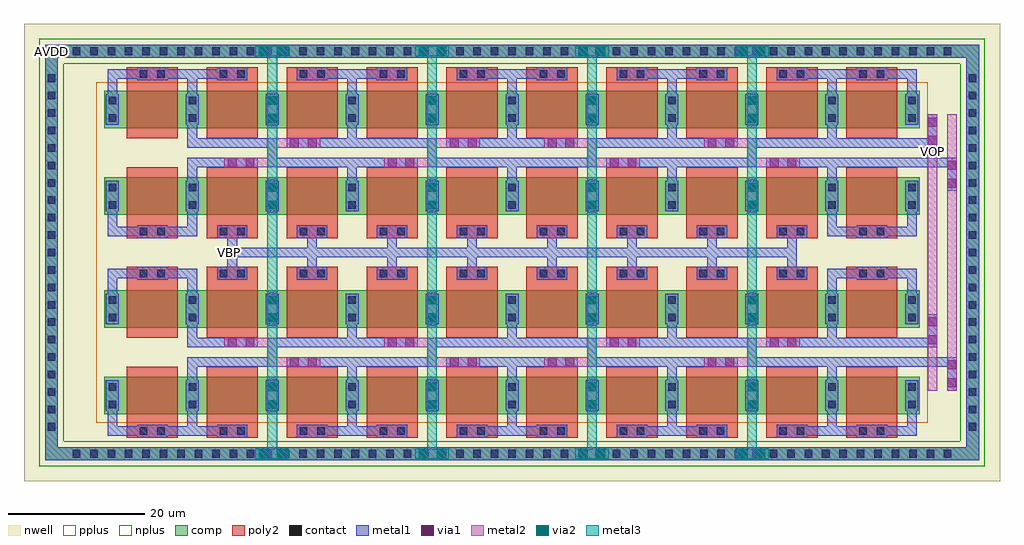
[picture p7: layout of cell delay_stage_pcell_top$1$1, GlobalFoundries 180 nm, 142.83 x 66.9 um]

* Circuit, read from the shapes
.subckt delay_stage_pcell_top$1$1 AVDD VBP VON VOP
XM1 VON VON VON AVDD pfet_03v3 w=5.5u l=7.5u m=4
XM2 VOP VOP VOP AVDD pfet_03v3 w=5.5u l=7.5u m=4
XM3 AVDD VON VON AVDD pfet_03v3 w=5.5u l=7.5u m=8
XM4 AVDD VBP VOP AVDD pfet_03v3 w=5.5u l=7.5u m=8
XM5 AVDD VBP VON AVDD pfet_03v3 w=5.5u l=7.5u m=8
XM6 AVDD VOP VOP AVDD pfet_03v3 w=5.5u l=7.5u m=8
.ends

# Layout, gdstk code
from math import pi, radians
import gdstk
lib = gdstk.Library(unit=1e-6, precision=1e-09)
def R(c, l, rs):  # rectangles x0, y0, x1, y1
    for r in rs: c.add(gdstk.rectangle(r[:2], r[2:], *l))
def A(c, l, x, y, w, h, nx, ny, dx, dy):  # array of equal rectangles
    R(c, l, [(x+i*dx, y+j*dy, x+i*dx+w, y+j*dy+h) for i in range(nx) for j in range(ny)])
nwell = (21, 0)
comp = (22, 0)
poly2 = (30, 0)
pplus = (31, 0)
nplus = (32, 0)
contact = (33, 0)
metal1 = (34, 0)
via1 = (35, 0)
metal2 = (36, 0)
via2 = (38, 0)
metal3 = (42, 0)

delay_stage_pcell_1_1_1_ = lib.new_cell('delay_stage_pcell_1$1$1$1$1')
R(delay_stage_pcell_1_1_1_, comp, [(0.85,1.5,3.15,7), (3.15,1.5,12.55,7), (12.55,1.5,14.85,7)])
R(delay_stage_pcell_1_1_1_, poly2, [(4.1,0,11.6,8.5)])
R(delay_stage_pcell_1_1_1_, contact, [(1.45,2.425,2.55,3.525), (13.15,2.425,14.25,3.525), (1.45,4.975,2.55,6.075), (13.15,4.975,14.25,6.075)])
R(delay_stage_pcell_1_1_1_, metal1, [(1.05,2.025,2.95,6.475), (12.75,2.025,14.65,6.475)])

delay_stage_pcell_1_4_1_ = lib.new_cell('delay_stage_pcell_1_4$1$1$1')
R(delay_stage_pcell_1_4_1_, poly2, [(3.25,0,10.75,1.9), (3.25,23.1,10.75,25), (3.25,29.2,10.75,31.1), (3.25,52.3,10.75,54.2)])
R(delay_stage_pcell_1_4_1_, contact, [(5.175,0.4,6.275,1.5), (7.725,0.4,8.825,1.5), (5.175,23.5,6.275,24.6), (7.725,23.5,8.825,24.6), (5.175,29.6,6.275,30.7), (7.725,29.6,8.825,30.7), (5.175,52.7,6.275,53.8), (7.725,52.7,8.825,53.8)])
R(delay_stage_pcell_1_4_1_, metal1, [(4.775,0,9.225,1.9), (4.775,23.1,9.225,25), (4.775,29.2,9.225,31.1), (4.775,52.3,9.225,54.2)])
delay_stage_pcell_1_4_1_.add(gdstk.FlexPath([(12.85,50.275),(12.85,53.25),(1.15,53.25),(1.15,50.275)], 1.4, ends="flush", simple_path=True, layer=34, datatype=0))  # metal1
delay_stage_pcell_1_4_1_.add(gdstk.FlexPath([(12.85,3.925),(12.85,0.95),(1.15,0.95),(1.15,3.925)], 1.4, ends="flush", simple_path=True, layer=34, datatype=0))  # metal1
delay_stage_pcell_1_4_1_.add(gdstk.FlexPath([(12.85,33.125),(12.85,30.15),(1.15,30.15),(1.15,33.125)], 1.4, ends="flush", simple_path=True, layer=34, datatype=0))  # metal1
delay_stage_pcell_1_4_1_.add(gdstk.FlexPath([(12.85,21.075),(12.85,24.05),(1.15,24.05),(1.15,21.075)], 1.4, ends="flush", simple_path=True, layer=34, datatype=0))  # metal1
delay_stage_pcell_1_4_1_.add(gdstk.Reference(delay_stage_pcell_1_1_1_, (-0.85,31.1)))
delay_stage_pcell_1_4_1_.add(gdstk.Reference(delay_stage_pcell_1_1_1_, (-0.85,1.9)))
delay_stage_pcell_1_4_1_.add(gdstk.Reference(delay_stage_pcell_1_1_1_, (-0.85,14.6)))
delay_stage_pcell_1_4_1_.add(gdstk.Reference(delay_stage_pcell_1_1_1_, (-0.85,43.8)))

delay_stage_pcell_1_2_1_ = lib.new_cell('delay_stage_pcell_1$2$1$1$1$1')
R(delay_stage_pcell_1_2_1_, comp, [(0.85,1.5,3.15,7), (3.15,1.5,12.55,7), (12.55,1.5,14.85,7)])
R(delay_stage_pcell_1_2_1_, poly2, [(4.1,0,11.6,8.5)])
R(delay_stage_pcell_1_2_1_, contact, [(1.45,2.425,2.55,3.525), (13.15,2.425,14.25,3.525), (1.45,4.975,2.55,6.075), (13.15,4.975,14.25,6.075)])
R(delay_stage_pcell_1_2_1_, metal1, [(1.05,2.025,2.95,6.475), (12.75,2.025,14.65,6.475)])

delay_stage_pcell_4_2_1_ = lib.new_cell('delay_stage_pcell_4$2$1$1$1')
delay_stage_pcell_4_2_1_.add(gdstk.Reference(delay_stage_pcell_1_2_1_, (-0.85,0)))
delay_stage_pcell_4_2_1_.add(gdstk.Reference(delay_stage_pcell_1_2_1_, (10.85,0)))
delay_stage_pcell_4_2_1_.add(gdstk.Reference(delay_stage_pcell_1_2_1_, (22.55,0)))
delay_stage_pcell_4_2_1_.add(gdstk.Reference(delay_stage_pcell_1_2_1_, (34.25,0)))

delay_stage_pcell_4_4_1_ = lib.new_cell('delay_stage_pcell_4_4$1$1$1')
R(delay_stage_pcell_4_4_1_, poly2, [(3.25,0,10.75,1.9), (3.25,0,10.75,1.9), (14.95,0,22.45,1.9), (14.95,0,22.45,1.9), (26.65,0,34.15,1.9), (26.65,0,34.15,1.9), (38.35,0,45.85,1.9), (38.35,0,45.85,1.9), (3.25,23.1,10.75,25), (3.25,23.1,10.75,25), (14.95,23.1,22.45,25), (14.95,23.1,22.45,25), (26.65,23.1,34.15,25), (26.65,23.1,34.15,25), (38.35,23.1,45.85,25), (38.35,23.1,45.85,25), (3.25,29.2,10.75,31.1), (3.25,29.2,10.75,31.1), (14.95,29.2,22.45,31.1), (14.95,29.2,22.45,31.1), (26.65,29.2,34.15,31.1), (26.65,29.2,34.15,31.1), (38.35,29.2,45.85,31.1), (38.35,29.2,45.85,31.1), (3.25,52.3,10.75,54.2), (3.25,52.3,10.75,54.2), (14.95,52.3,22.45,54.2), (14.95,52.3,22.45,54.2), (26.65,52.3,34.15,54.2), (26.65,52.3,34.15,54.2), (38.35,52.3,45.85,54.2), (38.35,52.3,45.85,54.2)])
R(delay_stage_pcell_4_4_1_, contact, [(5.175,0.4,6.275,1.5), (5.175,0.4,6.275,1.5), (7.725,0.4,8.825,1.5), (7.725,0.4,8.825,1.5), (16.875,0.4,17.975,1.5), (16.875,0.4,17.975,1.5), (19.425,0.4,20.525,1.5), (19.425,0.4,20.525,1.5), (28.575,0.4,29.675,1.5), (28.575,0.4,29.675,1.5), (31.125,0.4,32.225,1.5), (31.125,0.4,32.225,1.5), (40.275,0.4,41.375,1.5), (40.275,0.4,41.375,1.5), (42.825,0.4,43.925,1.5), (42.825,0.4,43.925,1.5), (5.175,23.5,6.275,24.6), (5.175,23.5,6.275,24.6), (7.725,23.5,8.825,24.6), (7.725,23.5,8.825,24.6), (16.875,23.5,17.975,24.6), (16.875,23.5,17.975,24.6), (19.425,23.5,20.525,24.6), (19.425,23.5,20.525,24.6), (28.575,23.5,29.675,24.6), (28.575,23.5,29.675,24.6), (31.125,23.5,32.225,24.6), (31.125,23.5,32.225,24.6), (40.275,23.5,41.375,24.6), (40.275,23.5,41.375,24.6), (42.825,23.5,43.925,24.6), (42.825,23.5,43.925,24.6), (5.175,29.6,6.275,30.7), (5.175,29.6,6.275,30.7), (7.725,29.6,8.825,30.7), (7.725,29.6,8.825,30.7), (16.875,29.6,17.975,30.7), (16.875,29.6,17.975,30.7), (19.425,29.6,20.525,30.7), (19.425,29.6,20.525,30.7), (28.575,29.6,29.675,30.7), (28.575,29.6,29.675,30.7), (31.125,29.6,32.225,30.7), (31.125,29.6,32.225,30.7), (40.275,29.6,41.375,30.7), (40.275,29.6,41.375,30.7), (42.825,29.6,43.925,30.7), (42.825,29.6,43.925,30.7), (5.175,52.7,6.275,53.8), (5.175,52.7,6.275,53.8), (7.725,52.7,8.825,53.8), (7.725,52.7,8.825,53.8), (16.875,52.7,17.975,53.8), (16.875,52.7,17.975,53.8), (19.425,52.7,20.525,53.8), (19.425,52.7,20.525,53.8), (28.575,52.7,29.675,53.8), (28.575,52.7,29.675,53.8), (31.125,52.7,32.225,53.8), (31.125,52.7,32.225,53.8), (40.275,52.7,41.375,53.8), (40.275,52.7,41.375,53.8), (42.825,52.7,43.925,53.8), (42.825,52.7,43.925,53.8)])
R(delay_stage_pcell_4_4_1_, metal1, [(4.775,0,9.225,1.9), (16.475,0,20.925,1.9), (16.475,0,20.925,1.9), (28.175,0,32.625,1.9), (28.175,0,32.625,1.9), (39.875,0,44.325,1.9), (4.775,23.1,9.225,25), (4.775,23.1,9.225,25), (16.475,23.1,20.925,25), (16.475,23.1,20.925,25), (28.175,23.1,32.625,25), (28.175,23.1,32.625,25), (39.875,23.1,44.325,25), (4.775,29.2,9.225,31.1), (4.775,29.2,9.225,31.1), (16.475,29.2,20.925,31.1), (16.475,29.2,20.925,31.1), (28.175,29.2,32.625,31.1), (28.175,29.2,32.625,31.1), (39.875,29.2,44.325,31.1), (39.875,29.2,44.325,31.1), (4.775,52.3,9.225,54.2), (16.475,52.3,20.925,54.2), (16.475,52.3,20.925,54.2), (28.175,52.3,32.625,54.2), (28.175,52.3,32.625,54.2), (39.875,52.3,44.325,54.2)])
R(delay_stage_pcell_4_4_1_, via1, [(12.2,4.2,13.5,5.5), (35.6,4.2,36.9,5.5), (12.2,6.8,13.5,8.1), (35.6,6.8,36.9,8.1), (6.35,10.45,7.65,11.75), (6.35,10.45,7.65,11.75), (8.95,10.45,10.25,11.75), (8.95,10.45,10.25,11.75), (29.75,10.45,31.05,11.75), (29.75,10.45,31.05,11.75), (32.35,10.45,33.65,11.75), (32.35,10.45,33.65,11.75), (15.45,13.25,16.75,14.55), (15.45,13.25,16.75,14.55), (18.05,13.25,19.35,14.55), (18.05,13.25,19.35,14.55), (38.85,13.25,40.15,14.55), (38.85,13.25,40.15,14.55), (41.45,13.25,42.75,14.55), (41.45,13.25,42.75,14.55), (12.2,16.9,13.5,18.2), (35.6,16.9,36.9,18.2), (12.2,19.5,13.5,20.8), (35.6,19.5,36.9,20.8), (12.2,33.4,13.5,34.7), (35.6,33.4,36.9,34.7), (12.2,36,13.5,37.3), (35.6,36,36.9,37.3), (15.45,39.65,16.75,40.95), (15.45,39.65,16.75,40.95), (18.05,39.65,19.35,40.95), (18.05,39.65,19.35,40.95), (38.85,39.65,40.15,40.95), (38.85,39.65,40.15,40.95), (41.45,39.65,42.75,40.95), (41.45,39.65,42.75,40.95), (6.35,42.45,7.65,43.75), (6.35,42.45,7.65,43.75), (8.95,42.45,10.25,43.75), (8.95,42.45,10.25,43.75), (29.75,42.45,31.05,43.75), (29.75,42.45,31.05,43.75), (32.35,42.45,33.65,43.75), (32.35,42.45,33.65,43.75), (12.2,46.1,13.5,47.4), (35.6,46.1,36.9,47.4), (12.2,48.7,13.5,50), (35.6,48.7,36.9,50)])
R(delay_stage_pcell_4_4_1_, via2, [(12.2,4.2,13.5,5.5), (35.6,4.2,36.9,5.5), (12.2,6.8,13.5,8.1), (35.6,6.8,36.9,8.1), (12.2,16.9,13.5,18.2), (35.6,16.9,36.9,18.2), (12.2,19.5,13.5,20.8), (35.6,19.5,36.9,20.8), (12.2,33.4,13.5,34.7), (35.6,33.4,36.9,34.7), (12.2,36,13.5,37.3), (35.6,36,36.9,37.3), (12.2,46.1,13.5,47.4), (35.6,46.1,36.9,47.4), (12.2,48.7,13.5,50), (35.6,48.7,36.9,50)])
delay_stage_pcell_4_4_1_.add(gdstk.FlexPath([(42.8,27.1),(1.15,27.1)], 1.4, ends="flush", simple_path=True, layer=34, datatype=0))  # metal1
delay_stage_pcell_4_4_1_.add(gdstk.FlexPath([(20.925,53.25),(28.175,53.25)], 1.4, ends="flush", simple_path=True, layer=34, datatype=0))  # metal1
delay_stage_pcell_4_4_1_.add(gdstk.FlexPath([(24.55,50.275),(24.55,52.55)], 1.4, ends="flush", simple_path=True, layer=34, datatype=0))  # metal1
delay_stage_pcell_4_4_1_.add(gdstk.FlexPath([(4.775,53.25),(1.15,53.25),(1.15,50.275)], 1.4, ends="flush", simple_path=True, layer=34, datatype=0))  # metal1
delay_stage_pcell_4_4_1_.add(gdstk.FlexPath([(44.325,53.25),(47.95,53.25),(47.95,50.275)], 1.4, ends="flush", simple_path=True, layer=34, datatype=0))  # metal1
delay_stage_pcell_4_4_1_.add(gdstk.FlexPath([(20.925,0.95),(28.175,0.95)], 1.4, ends="flush", simple_path=True, layer=34, datatype=0))  # metal1
delay_stage_pcell_4_4_1_.add(gdstk.FlexPath([(24.55,3.925),(24.55,1.65)], 1.4, ends="flush", simple_path=True, layer=34, datatype=0))  # metal1
delay_stage_pcell_4_4_1_.add(gdstk.FlexPath([(4.775,0.95),(1.15,0.95),(1.15,3.925)], 1.4, ends="flush", simple_path=True, layer=34, datatype=0))  # metal1
delay_stage_pcell_4_4_1_.add(gdstk.FlexPath([(44.325,0.95),(47.95,0.95),(47.95,3.925)], 1.4, ends="flush", simple_path=True, layer=34, datatype=0))  # metal1
delay_stage_pcell_4_4_1_.add(gdstk.FlexPath([(47.95,8.375),(47.95,11.1),(43.25,11.1)], 1.4, ends="flush", simple_path=True, layer=34, datatype=0))  # metal1
delay_stage_pcell_4_4_1_.add(gdstk.FlexPath([(47.95,8.375),(47.95,11.1),(43.25,11.1)], 1.4, ends="flush", simple_path=True, layer=34, datatype=0))  # metal1
delay_stage_pcell_4_4_1_.add(gdstk.FlexPath([(24.55,8.375),(24.55,10.4)], 1.4, ends="flush", simple_path=True, layer=34, datatype=0))  # metal1
delay_stage_pcell_4_4_1_.add(gdstk.FlexPath([(24.55,8.375),(24.55,10.4)], 1.4, ends="flush", simple_path=True, layer=34, datatype=0))  # metal1
delay_stage_pcell_4_4_1_.add(gdstk.FlexPath([(1.15,8.375),(1.15,11.1),(5.85,11.1)], 1.4, ends="flush", simple_path=True, layer=34, datatype=0))  # metal1
delay_stage_pcell_4_4_1_.add(gdstk.FlexPath([(1.15,8.375),(1.15,11.1),(5.85,11.1)], 1.4, ends="flush", simple_path=True, layer=34, datatype=0))  # metal1
delay_stage_pcell_4_4_1_.add(gdstk.FlexPath([(43.25,11.1),(36.25,11.1),(36.25,13.9),(29.25,13.9)], 1.4, ends="flush", simple_path=True, layer=34, datatype=0))  # metal1
delay_stage_pcell_4_4_1_.add(gdstk.FlexPath([(43.25,11.1),(36.25,11.1),(36.25,13.9),(29.25,13.9)], 1.4, ends="flush", simple_path=True, layer=34, datatype=0))  # metal1
delay_stage_pcell_4_4_1_.add(gdstk.FlexPath([(34.15,11.1),(29.25,11.1)], 1.4, ends="flush", simple_path=True, layer=34, datatype=0))  # metal1
delay_stage_pcell_4_4_1_.add(gdstk.FlexPath([(34.15,11.1),(29.25,11.1)], 1.4, ends="flush", simple_path=True, layer=34, datatype=0))  # metal1
delay_stage_pcell_4_4_1_.add(gdstk.FlexPath([(19.85,11.1),(29.25,11.1)], 1.4, ends="flush", simple_path=True, layer=34, datatype=0))  # metal1
delay_stage_pcell_4_4_1_.add(gdstk.FlexPath([(19.85,11.1),(29.25,11.1)], 1.4, ends="flush", simple_path=True, layer=34, datatype=0))  # metal1
delay_stage_pcell_4_4_1_.add(gdstk.FlexPath([(19.85,11.1),(12.85,11.1),(12.85,13.9),(5.85,13.9)], 1.4, ends="flush", simple_path=True, layer=34, datatype=0))  # metal1
delay_stage_pcell_4_4_1_.add(gdstk.FlexPath([(19.85,11.1),(12.85,11.1),(12.85,13.9),(5.85,13.9)], 1.4, ends="flush", simple_path=True, layer=34, datatype=0))  # metal1
delay_stage_pcell_4_4_1_.add(gdstk.FlexPath([(10.75,11.1),(5.85,11.1)], 1.4, ends="flush", simple_path=True, layer=34, datatype=0))  # metal1
delay_stage_pcell_4_4_1_.add(gdstk.FlexPath([(10.75,11.1),(5.85,11.1)], 1.4, ends="flush", simple_path=True, layer=34, datatype=0))  # metal1
delay_stage_pcell_4_4_1_.add(gdstk.FlexPath([(43.25,13.9),(38.35,13.9)], 1.4, ends="flush", simple_path=True, layer=34, datatype=0))  # metal1
delay_stage_pcell_4_4_1_.add(gdstk.FlexPath([(43.25,13.9),(38.35,13.9)], 1.4, ends="flush", simple_path=True, layer=34, datatype=0))  # metal1
delay_stage_pcell_4_4_1_.add(gdstk.FlexPath([(19.85,13.9),(29.25,13.9)], 1.4, ends="flush", simple_path=True, layer=34, datatype=0))  # metal1
delay_stage_pcell_4_4_1_.add(gdstk.FlexPath([(19.85,13.9),(29.25,13.9)], 1.4, ends="flush", simple_path=True, layer=34, datatype=0))  # metal1
delay_stage_pcell_4_4_1_.add(gdstk.FlexPath([(19.85,13.9),(14.95,13.9)], 1.4, ends="flush", simple_path=True, layer=34, datatype=0))  # metal1
delay_stage_pcell_4_4_1_.add(gdstk.FlexPath([(19.85,13.9),(14.95,13.9)], 1.4, ends="flush", simple_path=True, layer=34, datatype=0))  # metal1
delay_stage_pcell_4_4_1_.add(gdstk.FlexPath([(5.85,13.9),(1.15,13.9),(1.15,16.625)], 1.4, ends="flush", simple_path=True, layer=34, datatype=0))  # metal1
delay_stage_pcell_4_4_1_.add(gdstk.FlexPath([(5.85,13.9),(1.15,13.9),(1.15,16.625)], 1.4, ends="flush", simple_path=True, layer=34, datatype=0))  # metal1
delay_stage_pcell_4_4_1_.add(gdstk.FlexPath([(47.95,16.625),(47.95,13.9),(43.25,13.9)], 1.4, ends="flush", simple_path=True, layer=34, datatype=0))  # metal1
delay_stage_pcell_4_4_1_.add(gdstk.FlexPath([(47.95,16.625),(47.95,13.9),(43.25,13.9)], 1.4, ends="flush", simple_path=True, layer=34, datatype=0))  # metal1
delay_stage_pcell_4_4_1_.add(gdstk.FlexPath([(24.55,16.625),(24.55,14.6)], 1.4, ends="flush", simple_path=True, layer=34, datatype=0))  # metal1
delay_stage_pcell_4_4_1_.add(gdstk.FlexPath([(24.55,16.625),(24.55,14.6)], 1.4, ends="flush", simple_path=True, layer=34, datatype=0))  # metal1
delay_stage_pcell_4_4_1_.add(gdstk.FlexPath([(47.95,37.575),(47.95,40.3),(43.25,40.3)], 1.4, ends="flush", simple_path=True, layer=34, datatype=0))  # metal1
delay_stage_pcell_4_4_1_.add(gdstk.FlexPath([(47.95,45.825),(47.95,43.1),(43.25,43.1)], 1.4, ends="flush", simple_path=True, layer=34, datatype=0))  # metal1
delay_stage_pcell_4_4_1_.add(gdstk.FlexPath([(24.55,45.825),(24.55,43.8)], 1.4, ends="flush", simple_path=True, layer=34, datatype=0))  # metal1
delay_stage_pcell_4_4_1_.add(gdstk.FlexPath([(24.55,37.575),(24.55,39.6)], 1.4, ends="flush", simple_path=True, layer=34, datatype=0))  # metal1
delay_stage_pcell_4_4_1_.add(gdstk.FlexPath([(5.85,40.3),(1.15,40.3),(1.15,37.575)], 1.4, ends="flush", simple_path=True, layer=34, datatype=0))  # metal1
delay_stage_pcell_4_4_1_.add(gdstk.FlexPath([(1.15,45.825),(1.15,43.1),(5.85,43.1)], 1.4, ends="flush", simple_path=True, layer=34, datatype=0))  # metal1
delay_stage_pcell_4_4_1_.add(gdstk.FlexPath([(43.25,43.1),(36.25,43.1),(36.25,40.3),(29.25,40.3)], 1.4, ends="flush", simple_path=True, layer=34, datatype=0))  # metal1
delay_stage_pcell_4_4_1_.add(gdstk.FlexPath([(19.85,43.1),(12.85,43.1),(12.85,40.3),(5.85,40.3)], 1.4, ends="flush", simple_path=True, layer=34, datatype=0))  # metal1
delay_stage_pcell_4_4_1_.add(gdstk.FlexPath([(10.75,43.1),(5.85,43.1)], 1.4, ends="flush", simple_path=True, layer=34, datatype=0))  # metal1
delay_stage_pcell_4_4_1_.add(gdstk.FlexPath([(19.85,40.3),(14.95,40.3)], 1.4, ends="flush", simple_path=True, layer=34, datatype=0))  # metal1
delay_stage_pcell_4_4_1_.add(gdstk.FlexPath([(43.25,40.3),(38.35,40.3)], 1.4, ends="flush", simple_path=True, layer=34, datatype=0))  # metal1
delay_stage_pcell_4_4_1_.add(gdstk.FlexPath([(34.15,43.1),(29.25,43.1)], 1.4, ends="flush", simple_path=True, layer=34, datatype=0))  # metal1
delay_stage_pcell_4_4_1_.add(gdstk.FlexPath([(19.85,43.1),(29.25,43.1)], 1.4, ends="flush", simple_path=True, layer=34, datatype=0))  # metal1
delay_stage_pcell_4_4_1_.add(gdstk.FlexPath([(19.85,40.3),(29.25,40.3)], 1.4, ends="flush", simple_path=True, layer=34, datatype=0))  # metal1
delay_stage_pcell_4_4_1_.add(gdstk.FlexPath([(19.85,40.3),(29.25,40.3)], 1.4, ends="flush", simple_path=True, layer=34, datatype=0))  # metal1
delay_stage_pcell_4_4_1_.add(gdstk.FlexPath([(19.85,43.1),(29.25,43.1)], 1.4, ends="flush", simple_path=True, layer=34, datatype=0))  # metal1
delay_stage_pcell_4_4_1_.add(gdstk.FlexPath([(34.15,43.1),(29.25,43.1)], 1.4, ends="flush", simple_path=True, layer=34, datatype=0))  # metal1
delay_stage_pcell_4_4_1_.add(gdstk.FlexPath([(43.25,40.3),(38.35,40.3)], 1.4, ends="flush", simple_path=True, layer=34, datatype=0))  # metal1
delay_stage_pcell_4_4_1_.add(gdstk.FlexPath([(19.85,40.3),(14.95,40.3)], 1.4, ends="flush", simple_path=True, layer=34, datatype=0))  # metal1
delay_stage_pcell_4_4_1_.add(gdstk.FlexPath([(10.75,43.1),(5.85,43.1)], 1.4, ends="flush", simple_path=True, layer=34, datatype=0))  # metal1
delay_stage_pcell_4_4_1_.add(gdstk.FlexPath([(19.85,43.1),(12.85,43.1),(12.85,40.3),(5.85,40.3)], 1.4, ends="flush", simple_path=True, layer=34, datatype=0))  # metal1
delay_stage_pcell_4_4_1_.add(gdstk.FlexPath([(43.25,43.1),(36.25,43.1),(36.25,40.3),(29.25,40.3)], 1.4, ends="flush", simple_path=True, layer=34, datatype=0))  # metal1
delay_stage_pcell_4_4_1_.add(gdstk.FlexPath([(1.15,45.825),(1.15,43.1),(5.85,43.1)], 1.4, ends="flush", simple_path=True, layer=34, datatype=0))  # metal1
delay_stage_pcell_4_4_1_.add(gdstk.FlexPath([(5.85,40.3),(1.15,40.3),(1.15,37.575)], 1.4, ends="flush", simple_path=True, layer=34, datatype=0))  # metal1
delay_stage_pcell_4_4_1_.add(gdstk.FlexPath([(24.55,37.575),(24.55,39.6)], 1.4, ends="flush", simple_path=True, layer=34, datatype=0))  # metal1
delay_stage_pcell_4_4_1_.add(gdstk.FlexPath([(24.55,45.825),(24.55,43.8)], 1.4, ends="flush", simple_path=True, layer=34, datatype=0))  # metal1
delay_stage_pcell_4_4_1_.add(gdstk.FlexPath([(47.95,45.825),(47.95,43.1),(43.25,43.1)], 1.4, ends="flush", simple_path=True, layer=34, datatype=0))  # metal1
delay_stage_pcell_4_4_1_.add(gdstk.FlexPath([(47.95,37.575),(47.95,40.3),(43.25,40.3)], 1.4, ends="flush", simple_path=True, layer=34, datatype=0))  # metal1
delay_stage_pcell_4_4_1_.add(gdstk.FlexPath([(42.1,25),(42.1,26.4)], 1.4, ends="flush", simple_path=True, layer=34, datatype=0))  # metal1
delay_stage_pcell_4_4_1_.add(gdstk.FlexPath([(42.1,29.2),(42.1,27.8)], 1.4, ends="flush", simple_path=True, layer=34, datatype=0))  # metal1
delay_stage_pcell_4_4_1_.add(gdstk.FlexPath([(30.4,25),(30.4,26.4)], 1.4, ends="flush", simple_path=True, layer=34, datatype=0))  # metal1
delay_stage_pcell_4_4_1_.add(gdstk.FlexPath([(30.4,29.2),(30.4,27.8)], 1.4, ends="flush", simple_path=True, layer=34, datatype=0))  # metal1
delay_stage_pcell_4_4_1_.add(gdstk.FlexPath([(18.7,25),(18.7,26.4)], 1.4, ends="flush", simple_path=True, layer=34, datatype=0))  # metal1
delay_stage_pcell_4_4_1_.add(gdstk.FlexPath([(18.7,29.2),(18.7,27.8)], 1.4, ends="flush", simple_path=True, layer=34, datatype=0))  # metal1
delay_stage_pcell_4_4_1_.add(gdstk.FlexPath([(7,25),(7,26.4)], 1.4, ends="flush", simple_path=True, layer=34, datatype=0))  # metal1
delay_stage_pcell_4_4_1_.add(gdstk.FlexPath([(7,29.2),(7,27.8)], 1.4, ends="flush", simple_path=True, layer=34, datatype=0))  # metal1
delay_stage_pcell_4_4_1_.add(gdstk.FlexPath([(43.25,13.9),(36.25,13.9),(36.25,11.1),(29.25,11.1)], 1.4, ends="flush", simple_path=True, layer=36, datatype=0))  # metal2
delay_stage_pcell_4_4_1_.add(gdstk.FlexPath([(43.25,13.9),(36.25,13.9),(36.25,11.1),(29.25,11.1)], 1.4, ends="flush", simple_path=True, layer=36, datatype=0))  # metal2
delay_stage_pcell_4_4_1_.add(gdstk.FlexPath([(19.85,13.9),(12.85,13.9),(12.85,11.1),(5.85,11.1)], 1.4, ends="flush", simple_path=True, layer=36, datatype=0))  # metal2
delay_stage_pcell_4_4_1_.add(gdstk.FlexPath([(19.85,13.9),(12.85,13.9),(12.85,11.1),(5.85,11.1)], 1.4, ends="flush", simple_path=True, layer=36, datatype=0))  # metal2
delay_stage_pcell_4_4_1_.add(gdstk.FlexPath([(19.85,40.3),(12.85,40.3),(12.85,43.1),(5.85,43.1)], 1.4, ends="flush", simple_path=True, layer=36, datatype=0))  # metal2
delay_stage_pcell_4_4_1_.add(gdstk.FlexPath([(43.25,40.3),(36.25,40.3),(36.25,43.1),(29.25,43.1)], 1.4, ends="flush", simple_path=True, layer=36, datatype=0))  # metal2
delay_stage_pcell_4_4_1_.add(gdstk.FlexPath([(43.25,40.3),(36.25,40.3),(36.25,43.1),(29.25,43.1)], 1.4, ends="flush", simple_path=True, layer=36, datatype=0))  # metal2
delay_stage_pcell_4_4_1_.add(gdstk.FlexPath([(19.85,40.3),(12.85,40.3),(12.85,43.1),(5.85,43.1)], 1.4, ends="flush", simple_path=True, layer=36, datatype=0))  # metal2
delay_stage_pcell_4_4_1_.add(gdstk.FlexPath([(36.25,32.9),(36.25,37.8)], 1.4, ends="flush", simple_path=True, layer=36, datatype=0))  # metal2
delay_stage_pcell_4_4_1_.add(gdstk.FlexPath([(36.25,45.6),(36.25,50.5)], 1.4, ends="flush", simple_path=True, layer=36, datatype=0))  # metal2
delay_stage_pcell_4_4_1_.add(gdstk.FlexPath([(12.85,32.9),(12.85,37.8)], 1.4, ends="flush", simple_path=True, layer=36, datatype=0))  # metal2
delay_stage_pcell_4_4_1_.add(gdstk.FlexPath([(36.25,16.4),(36.25,21.3)], 1.4, ends="flush", simple_path=True, layer=36, datatype=0))  # metal2
delay_stage_pcell_4_4_1_.add(gdstk.FlexPath([(12.85,16.4),(12.85,21.3)], 1.4, ends="flush", simple_path=True, layer=36, datatype=0))  # metal2
delay_stage_pcell_4_4_1_.add(gdstk.FlexPath([(36.25,3.7),(36.25,8.6)], 1.4, ends="flush", simple_path=True, layer=36, datatype=0))  # metal2
delay_stage_pcell_4_4_1_.add(gdstk.FlexPath([(12.85,3.7),(12.85,8.6)], 1.4, ends="flush", simple_path=True, layer=36, datatype=0))  # metal2
delay_stage_pcell_4_4_1_.add(gdstk.FlexPath([(12.85,45.6),(12.85,50.5)], 1.4, ends="flush", simple_path=True, layer=36, datatype=0))  # metal2
delay_stage_pcell_4_4_1_.add(gdstk.FlexPath([(36.25,32.9),(36.25,37.8)], 1.4, ends="flush", simple_path=True, layer=42, datatype=0))  # metal3
delay_stage_pcell_4_4_1_.add(gdstk.FlexPath([(36.25,45.6),(36.25,50.5)], 1.4, ends="flush", simple_path=True, layer=42, datatype=0))  # metal3
delay_stage_pcell_4_4_1_.add(gdstk.FlexPath([(12.85,32.9),(12.85,37.8)], 1.4, ends="flush", simple_path=True, layer=42, datatype=0))  # metal3
delay_stage_pcell_4_4_1_.add(gdstk.FlexPath([(36.25,16.4),(36.25,21.3)], 1.4, ends="flush", simple_path=True, layer=42, datatype=0))  # metal3
delay_stage_pcell_4_4_1_.add(gdstk.FlexPath([(12.85,16.4),(12.85,21.3)], 1.4, ends="flush", simple_path=True, layer=42, datatype=0))  # metal3
delay_stage_pcell_4_4_1_.add(gdstk.FlexPath([(36.25,3.7),(36.25,8.6)], 1.4, ends="flush", simple_path=True, layer=42, datatype=0))  # metal3
delay_stage_pcell_4_4_1_.add(gdstk.FlexPath([(12.85,3.7),(12.85,8.6)], 1.4, ends="flush", simple_path=True, layer=42, datatype=0))  # metal3
delay_stage_pcell_4_4_1_.add(gdstk.FlexPath([(12.85,45.6),(12.85,50.5)], 1.4, ends="flush", simple_path=True, layer=42, datatype=0))  # metal3
delay_stage_pcell_4_4_1_.add(gdstk.Reference(delay_stage_pcell_4_2_1_, (49.1,39.6), rotation=pi))
delay_stage_pcell_4_4_1_.add(gdstk.Reference(delay_stage_pcell_4_2_1_, (49.1,10.4), rotation=pi))
delay_stage_pcell_4_4_1_.add(gdstk.Reference(delay_stage_pcell_4_2_1_, (49.1,43.8), rotation=pi, x_reflection=True))
delay_stage_pcell_4_4_1_.add(gdstk.Reference(delay_stage_pcell_4_2_1_, (49.1,14.6), rotation=pi, x_reflection=True))

delay_stage_pcell_top_1_ = lib.new_cell('delay_stage_pcell_top$1$1')
R(delay_stage_pcell_top_1_, nwell, [(0,0,142.825,66.9)])
R(delay_stage_pcell_top_1_, pplus, [(10.575,8.55,132.275,58.375)])
A(delay_stage_pcell_top_1_, contact, 7.125, 3.45, 1.1, 1.1, 51, 2, 2.55, 58.9)
A(delay_stage_pcell_top_1_, contact, 3.475, 7.4, 1.1, 1.1, 1, 21, 0, 2.55)
A(delay_stage_pcell_top_1_, contact, 138.275, 7.4, 1.1, 1.1, 1, 21, 0, 2.55)
R(delay_stage_pcell_top_1_, via1, [(34.375,3.35,35.675,4.65), (36.975,3.35,38.275,4.65), (57.775,3.35,59.075,4.65), (60.375,3.35,61.675,4.65), (81.175,3.35,82.475,4.65), (83.775,3.35,85.075,4.65), (104.575,3.35,105.875,4.65), (107.175,3.35,108.475,4.65), (135.125,13.75,136.425,15.05), (135.125,13.75,136.425,15.05), (135.125,16.35,136.425,17.65), (135.125,16.35,136.425,17.65), (132.325,20.05,133.625,21.35), (132.325,20.05,133.625,21.35), (132.325,22.65,133.625,23.95), (132.325,22.65,133.625,23.95), (135.125,42.95,136.425,44.25), (135.125,42.95,136.425,44.25), (135.125,45.55,136.425,46.85), (135.125,45.55,136.425,46.85), (132.325,49.25,133.625,50.55), (132.325,49.25,133.625,50.55), (132.325,51.85,133.625,53.15), (132.325,51.85,133.625,53.15), (34.375,62.25,35.675,63.55), (36.975,62.25,38.275,63.55), (57.775,62.25,59.075,63.55), (60.375,62.25,61.675,63.55), (81.175,62.25,82.475,63.55), (83.775,62.25,85.075,63.55), (104.575,62.25,105.875,63.55), (107.175,62.25,108.475,63.55)])
R(delay_stage_pcell_top_1_, via2, [(34.375,3.35,35.675,4.65), (36.975,3.35,38.275,4.65), (57.775,3.35,59.075,4.65), (60.375,3.35,61.675,4.65), (81.175,3.35,82.475,4.65), (83.775,3.35,85.075,4.65), (104.575,3.35,105.875,4.65), (107.175,3.35,108.475,4.65), (34.375,62.25,35.675,63.55), (36.975,62.25,38.275,63.55), (57.775,62.25,59.075,63.55), (60.375,62.25,61.675,63.55), (81.175,62.25,82.475,63.55), (83.775,62.25,85.075,63.55), (104.575,62.25,105.875,63.55), (107.175,62.25,108.475,63.55)])
delay_stage_pcell_top_1_.add(gdstk.FlexPath([(138.825,63.85),(138.825,4),(4.025,4),(4.025,62.9),(137.875,62.9)], 1.9, ends="flush", simple_path=True, layer=34, datatype=0))  # metal1
delay_stage_pcell_top_1_.add(gdstk.FlexPath([(118.925,20.25),(133.675,20.25)], 1.4, ends="flush", simple_path=True, layer=34, datatype=0))  # metal1
delay_stage_pcell_top_1_.add(gdstk.FlexPath([(118.925,17.45),(136.475,17.45)], 1.4, ends="flush", simple_path=True, layer=34, datatype=0))  # metal1
delay_stage_pcell_top_1_.add(gdstk.FlexPath([(135.775,13.25),(135.775,18.15)], 1.4, ends="flush", simple_path=True, layer=34, datatype=0))  # metal1
delay_stage_pcell_top_1_.add(gdstk.FlexPath([(135.775,13.25),(135.775,18.15)], 1.4, ends="flush", simple_path=True, layer=34, datatype=0))  # metal1
delay_stage_pcell_top_1_.add(gdstk.FlexPath([(132.975,19.55),(132.975,24.45)], 1.4, ends="flush", simple_path=True, layer=34, datatype=0))  # metal1
delay_stage_pcell_top_1_.add(gdstk.FlexPath([(132.975,19.55),(132.975,24.45)], 1.4, ends="flush", simple_path=True, layer=34, datatype=0))  # metal1
delay_stage_pcell_top_1_.add(gdstk.FlexPath([(118.925,49.45),(133.675,49.45)], 1.4, ends="flush", simple_path=True, layer=34, datatype=0))  # metal1
delay_stage_pcell_top_1_.add(gdstk.FlexPath([(118.925,46.65),(136.475,46.65)], 1.4, ends="flush", simple_path=True, layer=34, datatype=0))  # metal1
delay_stage_pcell_top_1_.add(gdstk.FlexPath([(132.975,53.65),(132.975,48.75)], 1.4, ends="flush", simple_path=True, layer=34, datatype=0))  # metal1
delay_stage_pcell_top_1_.add(gdstk.FlexPath([(132.975,53.65),(132.975,48.75)], 1.4, ends="flush", simple_path=True, layer=34, datatype=0))  # metal1
delay_stage_pcell_top_1_.add(gdstk.FlexPath([(135.775,47.35),(135.775,42.45)], 1.4, ends="flush", simple_path=True, layer=34, datatype=0))  # metal1
delay_stage_pcell_top_1_.add(gdstk.FlexPath([(135.775,47.35),(135.775,42.45)], 1.4, ends="flush", simple_path=True, layer=34, datatype=0))  # metal1
delay_stage_pcell_top_1_.add(gdstk.FlexPath([(138.825,63.85),(138.825,4),(4.025,4),(4.025,62.9),(137.875,62.9)], 1.9, ends="flush", simple_path=True, layer=22, datatype=0))  # comp
delay_stage_pcell_top_1_.add(gdstk.FlexPath([(132.975,13.25),(132.975,53.65)], 1.4, ends="flush", simple_path=True, layer=36, datatype=0))  # metal2
delay_stage_pcell_top_1_.add(gdstk.FlexPath([(104.075,4),(108.975,4)], 1.4, ends="flush", simple_path=True, layer=36, datatype=0))  # metal2
delay_stage_pcell_top_1_.add(gdstk.FlexPath([(135.775,13.25),(135.775,53.65)], 1.4, ends="flush", simple_path=True, layer=36, datatype=0))  # metal2
delay_stage_pcell_top_1_.add(gdstk.FlexPath([(104.075,62.9),(108.975,62.9)], 1.4, ends="flush", simple_path=True, layer=36, datatype=0))  # metal2
delay_stage_pcell_top_1_.add(gdstk.FlexPath([(80.675,4),(85.575,4)], 1.4, ends="flush", simple_path=True, layer=36, datatype=0))  # metal2
delay_stage_pcell_top_1_.add(gdstk.FlexPath([(80.675,62.9),(85.575,62.9)], 1.4, ends="flush", simple_path=True, layer=36, datatype=0))  # metal2
delay_stage_pcell_top_1_.add(gdstk.FlexPath([(57.275,4),(62.175,4)], 1.4, ends="flush", simple_path=True, layer=36, datatype=0))  # metal2
delay_stage_pcell_top_1_.add(gdstk.FlexPath([(57.275,62.9),(62.175,62.9)], 1.4, ends="flush", simple_path=True, layer=36, datatype=0))  # metal2
delay_stage_pcell_top_1_.add(gdstk.FlexPath([(33.875,4),(38.775,4)], 1.4, ends="flush", simple_path=True, layer=36, datatype=0))  # metal2
delay_stage_pcell_top_1_.add(gdstk.FlexPath([(33.875,62.9),(38.775,62.9)], 1.4, ends="flush", simple_path=True, layer=36, datatype=0))  # metal2
delay_stage_pcell_top_1_.add(gdstk.FlexPath([(106.525,62.2),(106.525,4.7)], 1.4, ends="flush", simple_path=True, layer=42, datatype=0))  # metal3
delay_stage_pcell_top_1_.add(gdstk.FlexPath([(104.075,4),(108.975,4)], 1.4, ends="flush", simple_path=True, layer=42, datatype=0))  # metal3
delay_stage_pcell_top_1_.add(gdstk.FlexPath([(104.075,62.9),(108.975,62.9)], 1.4, ends="flush", simple_path=True, layer=42, datatype=0))  # metal3
delay_stage_pcell_top_1_.add(gdstk.FlexPath([(83.125,62.2),(83.125,4.7)], 1.4, ends="flush", simple_path=True, layer=42, datatype=0))  # metal3
delay_stage_pcell_top_1_.add(gdstk.FlexPath([(80.675,4),(85.575,4)], 1.4, ends="flush", simple_path=True, layer=42, datatype=0))  # metal3
delay_stage_pcell_top_1_.add(gdstk.FlexPath([(80.675,62.9),(85.575,62.9)], 1.4, ends="flush", simple_path=True, layer=42, datatype=0))  # metal3
delay_stage_pcell_top_1_.add(gdstk.FlexPath([(59.725,62.2),(59.725,4.7)], 1.4, ends="flush", simple_path=True, layer=42, datatype=0))  # metal3
delay_stage_pcell_top_1_.add(gdstk.FlexPath([(57.275,4),(62.175,4)], 1.4, ends="flush", simple_path=True, layer=42, datatype=0))  # metal3
delay_stage_pcell_top_1_.add(gdstk.FlexPath([(57.275,62.9),(62.175,62.9)], 1.4, ends="flush", simple_path=True, layer=42, datatype=0))  # metal3
delay_stage_pcell_top_1_.add(gdstk.FlexPath([(36.325,62.2),(36.325,4.7)], 1.4, ends="flush", simple_path=True, layer=42, datatype=0))  # metal3
delay_stage_pcell_top_1_.add(gdstk.FlexPath([(33.875,4),(38.775,4)], 1.4, ends="flush", simple_path=True, layer=42, datatype=0))  # metal3
delay_stage_pcell_top_1_.add(gdstk.FlexPath([(33.875,62.9),(38.775,62.9)], 1.4, ends="flush", simple_path=True, layer=42, datatype=0))  # metal3
delay_stage_pcell_top_1_.add(gdstk.FlexPath([(138.825,64.7),(138.825,4),(4.025,4),(4.025,62.9),(137.875,62.9)], 3.6, ends="flush", simple_path=True, layer=32, datatype=0))  # nplus
delay_stage_pcell_top_1_.add(gdstk.Reference(delay_stage_pcell_1_4_1_, (131.075,6.35), rotation=pi, x_reflection=True))
delay_stage_pcell_top_1_.add(gdstk.Reference(delay_stage_pcell_1_4_1_, (25.775,6.35), rotation=pi, x_reflection=True))
delay_stage_pcell_top_1_.add(gdstk.Reference(delay_stage_pcell_4_4_1_, (70.275,6.35)))
delay_stage_pcell_top_1_.add(gdstk.Reference(delay_stage_pcell_4_4_1_, (72.575,6.35), rotation=pi, x_reflection=True))
delay_stage_pcell_top_1_.add(gdstk.Label('AVDD', (4.025,62.9), layer=34, texttype=10))
delay_stage_pcell_top_1_.add(gdstk.Label('VBP', (30.025,33.45), layer=34, texttype=10))
delay_stage_pcell_top_1_.add(gdstk.Label('VOP', (132.975,48.2), layer=36, texttype=10))
delay_stage_pcell_top_1_.add(gdstk.Label('VON', (135.775,48.4), layer=36, texttype=10))

lib.write_gds('delay_stage_pcell_top_1_1.gds')
